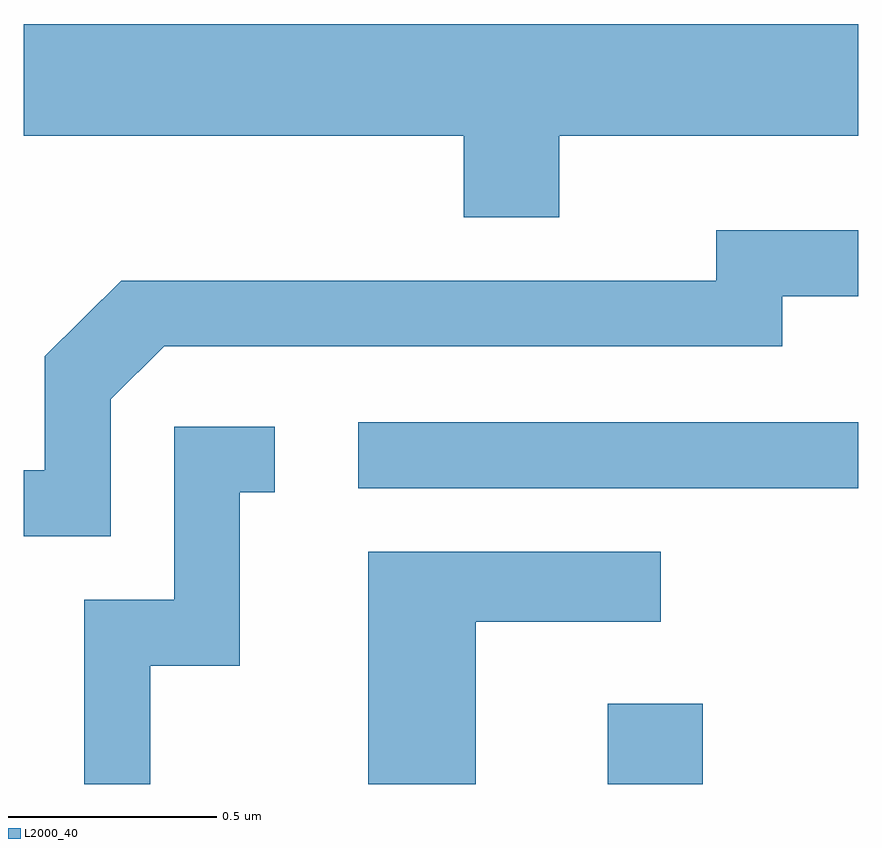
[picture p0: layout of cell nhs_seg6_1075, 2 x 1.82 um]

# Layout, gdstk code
import gdstk
lib = gdstk.Library(unit=1e-6, precision=1e-09)
def R(c, l, rs):  # rectangles x0, y0, x1, y1
    for r in rs: c.add(gdstk.rectangle(r[:2], r[2:], *l))
def P(c, l, *ps):  # polygons
    for p in ps: c.add(gdstk.Polygon(p, *l))
L2000_40 = (2000, 40)

nhs_seg6_1075 = lib.new_cell('nhs_seg6_1075')
R(nhs_seg6_1075, L2000_40, [(194.011,1646.162,194.239,1646.354), (193.413,1646.871,194.611,1647.029)])
P(nhs_seg6_1075, L2000_40, [(193.894,1647.716),(194.611,1647.716),(194.611,1647.984),(192.611,1647.984),(192.611,1647.716),(193.666,1647.716),(193.666,1647.521),(193.894,1647.521)],
  [(192.819,1647.084),(192.947,1647.211),(194.429,1647.211),(194.429,1647.331),(194.611,1647.331),(194.611,1647.489),(194.271,1647.489),(194.271,1647.369),(192.844,1647.369),(192.661,1647.187),(192.661,1646.914),(192.611,1646.914),(192.611,1646.756),(192.819,1646.756)],
  [(192.914,1646.446),(193.129,1646.446),(193.129,1646.861),(193.213,1646.861),(193.213,1647.019),(192.971,1647.019),(192.971,1646.604),(192.756,1646.604),(192.756,1646.162),(192.914,1646.162)],
  [(193.694,1646.551),(194.138,1646.551),(194.138,1646.719),(193.436,1646.719),(193.436,1646.162),(193.694,1646.162)])

lib.write_gds('nhs_seg6_1075.gds')
